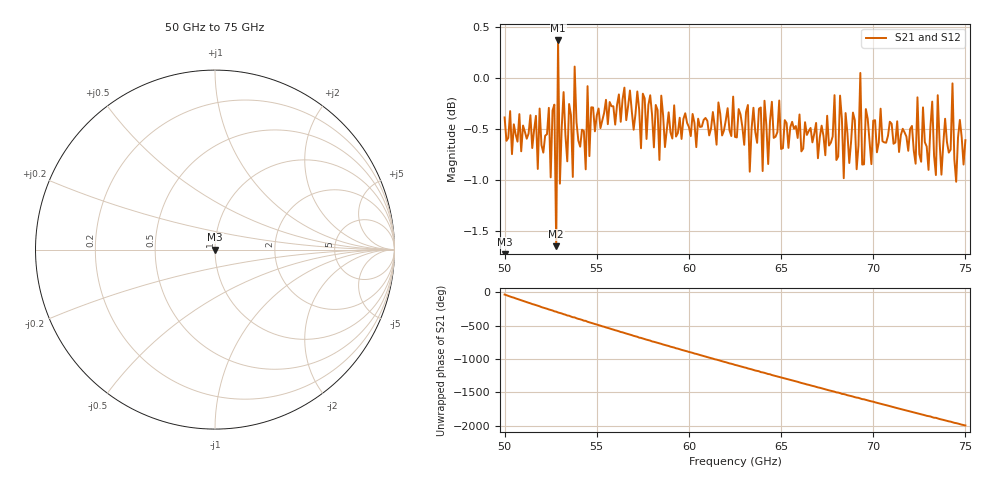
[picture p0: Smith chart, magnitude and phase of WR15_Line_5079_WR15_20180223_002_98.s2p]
# GHZ S RI R 50
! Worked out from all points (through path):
!   251 points, 50 GHz to 75 GHz, reference 50 ohm
!   highest |S21| = 0.37 dB at 52.9 GHz (marker M1); lowest = -1.6 dB at 52.8 GHz (marker M2)
!   lowest |S11| = - dB at 50 GHz (marker M3), VSWR 1.00, Z = 50 + j3.53e-15 ohm
!   |S11| at or under -10 dB: start of sweep to end of sweep
!   |S22| runs from - to - dB; largest |S21 - S12| = 1.4e-15
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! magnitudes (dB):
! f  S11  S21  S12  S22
! 50 GHz  -  -0.4  -0.4  -
! 51.8 GHz  -  -0.9  -0.9  -
! 52.4 GHz  -  -0.3  -0.3  -
! 52.5 GHz  -  -1.0  -1.0  -
! 52.7 GHz  -  -0.3  -0.3  -
! 52.8 GHz  -  -1.6  -1.6  -
! 52.9 GHz  -  0.4  0.4  -
! 53 GHz  -  -1.0  -1.0  -
! 53.2 GHz  -  -0.1  -0.1  -
! 53.7 GHz  -  -1.0  -1.0  -
! 53.8 GHz  -  0.1  0.1  -
! 54.2 GHz  -  -0.5  -0.5  -
! 57.9 GHz  -  -0.2  -0.2  -
! 58.4 GHz  -  -0.8  -0.8  -
! 58.5 GHz  -  -0.2  -0.2  -
! 62.5 GHz  -  -0.6  -0.6  -
! 66.7 GHz  -  -0.6  -0.6  -
! 69.1 GHz  -  -0.9  -0.9  -
! 69.3 GHz  -  0.1  0.1  -
! 69.4 GHz  -  -0.8  -0.8  -
! 70.9 GHz  -  -0.4  -0.4  -
! 75 GHz  -  -0.6  -0.6  -
